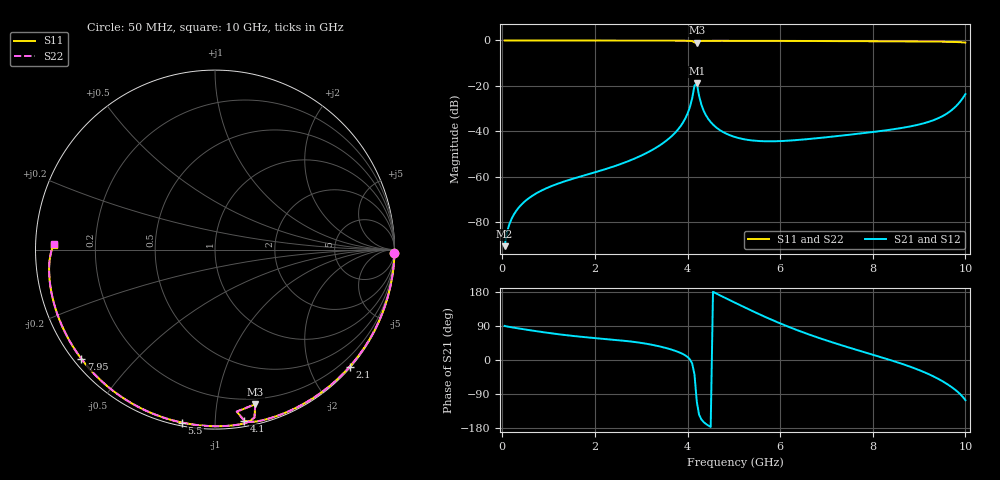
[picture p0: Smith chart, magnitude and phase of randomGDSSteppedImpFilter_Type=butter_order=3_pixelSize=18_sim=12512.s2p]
! freq	dB(S11)	phase(S11)	dB(S12)	phase(S12)
!  dB(S21)	phase(S21)	dB(S22)	phase(S22)
!S-par simulation data
#  GHz  S  DB  R 50
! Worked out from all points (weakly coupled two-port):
!   200 points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, 50 MHz to 10 GHz, reference 50 ohm
!   highest |S21| = -18.96 dB at 4.2 GHz (marker M1); lowest = -90.7 dB at 50 MHz (marker M2)
!   lowest |S11| = -1.0 dB at 4.2 GHz (marker M3), VSWR 17.29, Z = 7.69 - j64.1 ohm
!   |S11| at or under -10 dB: nowhere
!   |S22| runs from -1.0 to 0.0 dB; largest |S21 - S12| = 0
!   S11 on the Smith chart (normalised r, x): 50 MHz: open; 2.1 GHz: 0.02, -2.67; 4.1 GHz: 0.04, -1.19; 5.5 GHz: 0.02, -0.83; 7.95 GHz: 0.02, -0.36; 10 GHz: 0.05, +0.02
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0.05  -0.00 -1.0  -90.72 90.0  -90.72 90.0  -0.00 -1.0
0.15  -0.00 -3.0  -81.17 87.4  -81.17 87.4  -0.00 -3.0
0.4  -0.01 -8.0  -72.67 82.3  -72.67 82.3  -0.01 -8.0
0.7  -0.02 -13.9  -67.83 76.7  -67.83 76.7  -0.02 -13.9
1.75  -0.04 -34.4  -59.62 60.7  -59.62 60.7  -0.04 -34.4
2.1  -0.05 -41.0  -57.54 56.8  -57.54 56.8  -0.05 -41.0
3.4  -0.09 -65.2  -46.27 35.8  -46.27 35.8  -0.09 -65.3
3.85  -0.11 -73.7  -37.79 18.6  -37.79 18.6  -0.11 -73.8
4  -0.14 -77.0  -32.27 8.0  -32.27 8.0  -0.14 -77.1
4.1  -0.29 -80.2  -25.55 -9.2  -25.55 -9.2  -0.29 -80.3
4.15  -0.81 -82.3  -19.92 -38.1  -19.92 -38.1  -0.82 -82.4
4.2  -1.01 -75.4  -18.96 -109.9  -18.96 -109.9  -1.01 -75.4
4.3  -0.21 -78.7  -28.37 -157.1  -28.37 -157.1  -0.21 -78.7
4.45  -0.14 -82.3  -34.68 -173.1  -34.68 -173.1  -0.14 -82.4
5.05  -0.15 -93.2  -42.75 149.7  -42.75 149.7  -0.15 -93.2
5.5  -0.17 -100.8  -44.29 123.6  -44.29 123.6  -0.17 -100.9
6.7  -0.24 -120.5  -43.30 64.0  -43.30 64.0  -0.24 -120.5
7.95  -0.34 -140.9  -40.50 15.8  -40.50 15.8  -0.34 -140.9
8.35  -0.38 -147.5  -39.44 0.9  -39.44 0.9  -0.38 -147.7
9.45  -0.54 -167.7  -33.94 -52.2  -33.94 -52.2  -0.54 -167.8
9.75  -0.65 -174.5  -29.91 -75.8  -29.91 -75.8  -0.65 -174.7
10  -0.92 178.2  -23.67 -106.1  -23.67 -106.1  -0.94 177.9
